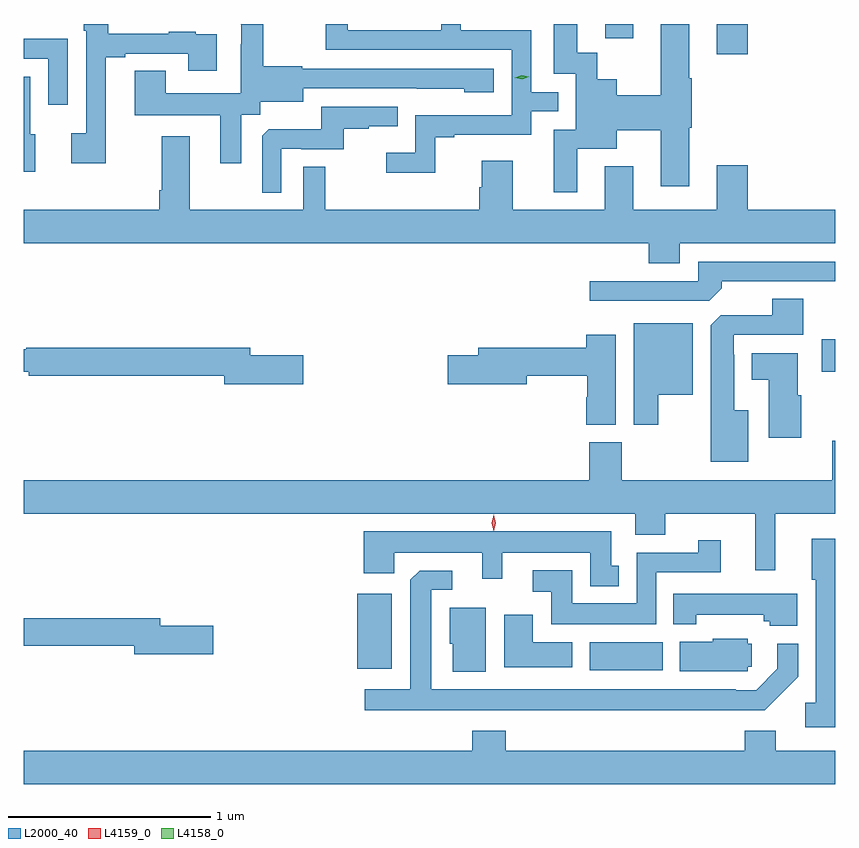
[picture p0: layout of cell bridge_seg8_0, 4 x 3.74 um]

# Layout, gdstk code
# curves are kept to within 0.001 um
import gdstk
lib = gdstk.Library(unit=1e-6, precision=1e-09)
def R(c, l, rs):  # rectangles x0, y0, x1, y1
    for r in rs: c.add(gdstk.rectangle(r[:2], r[2:], *l))
def P(c, l, *ps):  # polygons
    for p in ps: c.add(gdstk.Polygon(p, *l))
L2000_40 = (2000, 40)
L4158_0 = (4158, 0)
L4159_0 = (4159, 0)

bridge_seg8_0 = lib.new_cell('bridge_seg8_0')
R(bridge_seg8_0, L2000_40, [(959.24,1126.385,959.6,1126.522), (958.094,1126.392,958.264,1126.762), (960.384,1127.854,960.451,1128.016), (959.867,1129.419,960.02,1129.568), (959.318,1129.497,959.455,1129.568)])
P(bridge_seg8_0, L2000_40, [(956.857,1129.404),(956.953,1129.404),(956.953,1129.422),(957.263,1129.422),(957.263,1129.338),(957.403,1129.338),(957.403,1129.518),(957.299,1129.518),(957.299,1129.531),(957.167,1129.531),(957.167,1129.52),(956.869,1129.52),(956.869,1129.568),(956.748,1129.568),(956.748,1129.535),(956.76,1129.535),(956.76,1129.03),(956.685,1129.03),(956.685,1128.882),(956.857,1128.882)],
  [(959.179,1128.953),(959.374,1128.953),(959.374,1129.045),(959.591,1129.045),(959.591,1128.768),(959.731,1128.768),(959.731,1129.056),(959.744,1129.056),(959.744,1129.3),(959.731,1129.3),(959.731,1129.568),(959.591,1129.568),(959.591,1129.217),(959.374,1129.217),(959.374,1129.297),(959.277,1129.297),(959.277,1129.427),(959.179,1129.427),(959.179,1129.568),(959.063,1129.568),(959.063,1129.323),(959.172,1129.323),(959.172,1129.047),(959.063,1129.047),(959.063,1128.738),(959.179,1128.738)],
  [(957.523,1129.12),(957.618,1129.12),(957.618,1129.184),(957.829,1129.184),(957.829,1129.251),(958.623,1129.25),(958.623,1129.232),(958.768,1129.232),(958.768,1129.347),(957.825,1129.347),(957.825,1129.36),(957.633,1129.36),(957.633,1129.568),(957.52,1129.568),(957.524,1129.564),(957.524,1129.469),(957.522,1129.469),(957.522,1129.228),(957.151,1129.228),(957.151,1129.337),(956.999,1129.337),(956.999,1129.118),(957.419,1129.118),(957.419,1128.882),(957.523,1128.882)],
  [(958.479,1129.011),(958.573,1129.011),(958.573,1129.023),(958.953,1129.023),(958.953,1129.137),(959.086,1129.137),(959.086,1129.233),(958.953,1129.233),(958.953,1129.536),(958.606,1129.536),(958.606,1129.568),(958.508,1129.568),(958.508,1129.536),(958.048,1129.536),(958.048,1129.568),(957.939,1129.568),(957.939,1129.44),(958.857,1129.44),(958.857,1129.119),(958.38,1129.119),(958.38,1128.934),(958.239,1128.934),(958.239,1128.836),(958.479,1128.836)],
  [(956.67,1129.495),(956.451,1129.495),(956.451,1129.398),(956.574,1129.398),(956.574,1129.17),(956.67,1129.17)],
  [(956.509,1129.026),(956.484,1129.026),(956.484,1129.308),(956.451,1129.308),(956.451,1128.839),(956.509,1128.839)],
  [(957.72,1128.954),(957.82,1128.954),(957.82,1128.951),(958.028,1128.951),(958.028,1129.053),(958.151,1129.053),(958.151,1129.064),(958.295,1129.064),(958.295,1129.161),(957.918,1129.161),(957.918,1129.049),(957.659,1129.049),(957.627,1129.017),(957.627,1128.737),(957.72,1128.737)],
  [(959.683,1128.488),(960.451,1128.488),(960.451,1128.652),(960.02,1128.652),(960.02,1128.871),(959.867,1128.871),(959.867,1128.652),(959.455,1128.652),(959.455,1128.868),(959.315,1128.868),(959.315,1128.652),(958.861,1128.652),(958.861,1128.895),(958.709,1128.895),(958.709,1128.765),(958.697,1128.765),(958.697,1128.652),(957.937,1128.652),(957.937,1128.866),(957.828,1128.866),(957.828,1128.652),(957.271,1128.652),(957.271,1129.015),(957.131,1129.015),(957.131,1128.748),(957.119,1128.748),(957.119,1128.652),(956.451,1128.652),(956.451,1128.488),(959.531,1128.488),(959.531,1128.389),(959.683,1128.389)],
  [(959.891,1128.266),(959.891,1128.3),(960.451,1128.3),(960.451,1128.396),(959.775,1128.396),(959.775,1128.3),(959.241,1128.3),(959.241,1128.204),(959.829,1128.204)],
  [(960.022,1127.665),(959.953,1127.665),(959.953,1127.939),(959.949,1127.939),(959.949,1128.036),(960.293,1128.036),(960.293,1128.215),(960.14,1128.215),(960.14,1128.132),(959.886,1128.132),(959.837,1128.083),(959.837,1127.411),(960.022,1127.411)],
  [(959.578,1127.741),(959.749,1127.741),(959.749,1128.094),(959.456,1128.094),(959.456,1127.595),(959.578,1127.595)],
  [(959.368,1128.037),(959.222,1128.037),(959.222,1127.972),(958.691,1127.972),(958.691,1127.936),(958.542,1127.936),(958.542,1127.794),(958.93,1127.794),(958.93,1127.836),(959.227,1127.836),(959.227,1127.729),(959.222,1127.729),(959.222,1127.593),(959.368,1127.593)],
  [(957.829,1127.936),(957.568,1127.936),(957.568,1127.972),(956.464,1127.972),(956.464,1127.965),(956.451,1127.965),(956.451,1127.855),(956.476,1127.855),(956.476,1127.836),(957.44,1127.836),(957.44,1127.794),(957.829,1127.794)],
  [(960.283,1127.739),(960.265,1127.739),(960.265,1127.947),(960.038,1127.947),(960.038,1127.816),(960.122,1127.816),(960.122,1127.529),(960.283,1127.529)],
  [(960.155,1127.156),(960.451,1127.156),(960.451,1127.515),(960.434,1127.515),(960.434,1127.32),(959.397,1127.32),(959.397,1127.508),(959.237,1127.508),(959.237,1127.32),(956.451,1127.32),(956.451,1127.156),(959.465,1127.156),(959.465,1127.051),(959.613,1127.051),(959.613,1127.156),(960.056,1127.156),(960.056,1126.878),(960.155,1126.878)],
  [(959.383,1126.899),(959.347,1126.899),(959.347,1127.068),(958.127,1127.068),(958.127,1126.862),(958.278,1126.862),(958.278,1126.964),(958.712,1126.964),(958.712,1126.836),(958.81,1126.836),(958.81,1126.964),(959.243,1126.964),(959.243,1126.799),(959.383,1126.799)],
  [(960.451,1127.032),(960.335,1127.032),(960.335,1126.83),(960.353,1126.83),(960.353,1126.224),(960.303,1126.224),(960.303,1126.104),(960.451,1126.104)],
  [(959.568,1126.866),(959.887,1126.866),(959.887,1127.026),(959.774,1127.026),(959.774,1126.962),(959.472,1126.962),(959.472,1126.714),(959.155,1126.714),(959.155,1126.876),(958.959,1126.876),(958.959,1126.772),(959.051,1126.772),(959.051,1126.61),(959.568,1126.61)],
  [(960.268,1126.352),(960.268,1126.516),(960.165,1126.516),(960.165,1126.392),(960.06,1126.287),(959.96,1126.287),(959.96,1126.291),(958.459,1126.291),(958.459,1126.782),(958.564,1126.782),(958.564,1126.875),(958.402,1126.875),(958.356,1126.829),(958.355,1126.291),(958.131,1126.291),(958.131,1126.187),(960.102,1126.187)],
  [(960.262,1126.762),(959.653,1126.762),(959.653,1126.61),(959.764,1126.61),(959.764,1126.658),(960.097,1126.658),(960.097,1126.626),(960.126,1126.626),(960.126,1126.604),(960.262,1126.604)],
  [(958.729,1126.693),(958.55,1126.693),(958.55,1126.515),(958.565,1126.515),(958.565,1126.376),(958.729,1126.376)],
  [(959.155,1126.522),(958.96,1126.522),(958.96,1126.657),(958.82,1126.657),(958.82,1126.4),(959.155,1126.4)],
  [(957.385,1126.604),(957.124,1126.604),(957.124,1126.64),(956.451,1126.64),(956.451,1126.504),(956.996,1126.504),(956.996,1126.462),(957.385,1126.462)],
  [(960.018,1126.401),(960.039,1126.401),(960.039,1126.515),(960.018,1126.515),(960.018,1126.54),(959.847,1126.54),(959.847,1126.525),(959.685,1126.525),(959.685,1126.379),(960.018,1126.379)],
  [(960.451,1125.988),(960.157,1125.988),(960.157,1126.087),(960.005,1126.087),(960.005,1125.988),(958.826,1125.988),(958.826,1126.087),(958.661,1126.087),(958.661,1125.988),(956.451,1125.988),(956.451,1125.824),(960.451,1125.824)])
P(bridge_seg8_0, L4158_0, [(958.907,1129.296),(958.872,1129.303),(958.872,1129.304),(958.872,1129.304),(958.906,1129.316),(958.941,1129.308),(958.941,1129.308),(958.941,1129.308)])
P(bridge_seg8_0, L4159_0, [(958.768,1127.069),(958.768,1127.069),(958.758,1127.11),(958.768,1127.151),(958.768,1127.151),(958.768,1127.151),(958.778,1127.11),(958.768,1127.069)])

lib.write_gds('bridge_seg8_0.gds')
